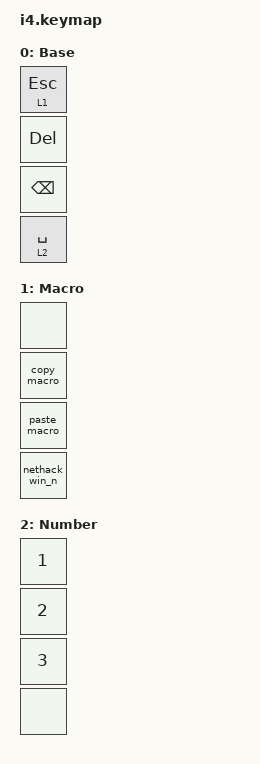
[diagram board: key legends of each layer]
#include <behaviors.dtsi>
#include <dt-bindings/zmk/keys.h>

/ {
    macros {
        copy_macro: copy_macro {
            compatible = "zmk,behavior-macro";
            #binding-cells = <0>;
            bindings = <
                &macro_press &kp LCTRL
                &macro_tap   &kp C
                &macro_release &kp LCTRL
            >;
        };

        paste_macro: paste_macro {
            compatible = "zmk,behavior-macro";
            #binding-cells = <0>;
            bindings = <
                &macro_press &kp LCTRL
                &macro_tap   &kp V
                &macro_release &kp LCTRL
            >;
        };

        nethack_win_n: nethack_win_n {
            compatible = "zmk,behavior-macro";
            #binding-cells = <0>;
            bindings = <
                &macro_press &kp LWIN
                &macro_tap   &kp N
                &macro_release &kp LWIN
            >;
        };
    };

    keymap {
        compatible = "zmk,keymap";

        default_layer {
            display-name = "Base";

            bindings = <
                &lt 1 ESC
                &kp DELETE
                &kp BACKSPACE
                &lt 2 SPACE
            >;
        };

        macro_layer {
            display-name = "Macro";

            bindings = <
                &none
                &copy_macro
                &paste_macro
                &nethack_win_n
            >;
        };

        num_layer {
            display-name = "Number";

            bindings = <
                &kp N1
                &kp N2
                &kp N3
                &none
            >;
        };
    };
};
